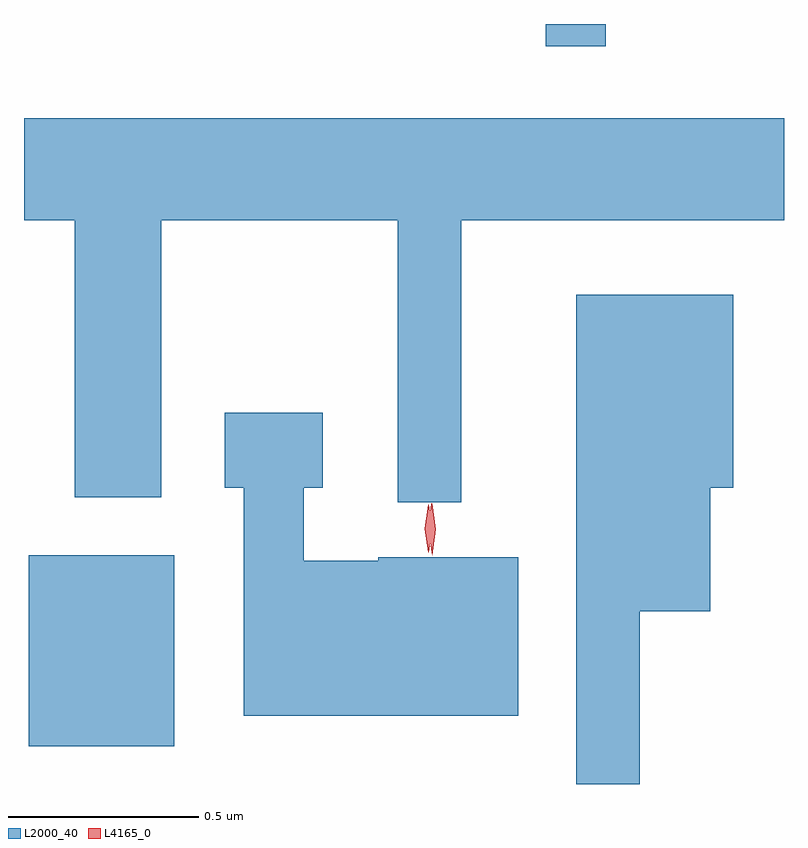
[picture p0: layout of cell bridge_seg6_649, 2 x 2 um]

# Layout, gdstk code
import gdstk
lib = gdstk.Library(unit=1e-6, precision=1e-09)
def R(c, l, rs):  # rectangles x0, y0, x1, y1
    for r in rs: c.add(gdstk.rectangle(r[:2], r[2:], *l))
def P(c, l, *ps):  # polygons
    for p in ps: c.add(gdstk.Polygon(p, *l))
L2000_40 = (2000, 40)
L4165_0 = (4165, 0)

bridge_seg6_649 = lib.new_cell('bridge_seg6_649')
R(bridge_seg6_649, L2000_40, [(550.341,1601.931,550.724,1602.434), (551.701,1603.773,551.859,1603.832)])
P(bridge_seg6_649, L2000_40, [(551.479,1603.316),(552.328,1603.316),(552.328,1603.584),(550.328,1603.584),(550.328,1603.316),(550.461,1603.316),(550.461,1602.586),(550.689,1602.586),(550.689,1603.316),(551.311,1603.316),(551.311,1602.573),(551.479,1602.573)],
  [(551.949,1602.286),(552.134,1602.286),(552.134,1602.611),(552.194,1602.611),(552.194,1603.119),(551.781,1603.119),(551.781,1601.832),(551.949,1601.832)],
  [(551.629,1602.429),(551.26,1602.429),(551.26,1602.419),(551.064,1602.419),(551.064,1602.611),(551.114,1602.611),(551.114,1602.809),(550.856,1602.809),(550.856,1602.611),(550.906,1602.611),(550.906,1602.011),(551.629,1602.011)])
P(bridge_seg6_649, L4165_0, [(551.392,1602.442),(551.392,1602.442),(551.382,1602.504),(551.392,1602.567),(551.392,1602.567),(551.393,1602.567),(551.402,1602.504),(551.393,1602.442)],
  [(551.402,1602.434),(551.402,1602.434),(551.392,1602.502),(551.4,1602.57),(551.401,1602.571),(551.402,1602.57),(551.412,1602.502),(551.402,1602.434)])

lib.write_gds('bridge_seg6_649.gds')
